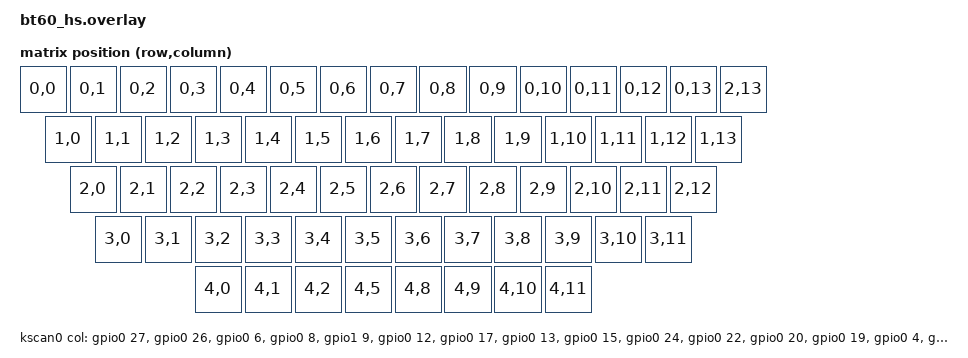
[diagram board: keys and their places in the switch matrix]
/* 1. ИЗБИРАМЕ ОФИЦИАЛНИЯ ЛАЙАУТ ЗА ZMK STUDIO */
/ {
    chosen {
        zmk,physical-layout = &layout_60_ansi;
    };
};

/* 2. ОБВЪРЗВАМЕ ГО С ВАШАТА V1 МАТРИЦА */
&layout_60_ansi {
    transform = <&v1_transform>;
};

/* 3. ДОБАВЯМЕ ЛИПСВАЩИЯ ПИН В МАСИВА НА ДРАЙВЕРА (Премахва Skew-а и пуска стрелката) */
&kscan0 {
    col-gpios
        = <&gpio0 27 GPIO_ACTIVE_HIGH>
        , <&gpio0 26 GPIO_ACTIVE_HIGH>
        , <&gpio0 6  GPIO_ACTIVE_HIGH>
        , <&gpio0 8  GPIO_ACTIVE_HIGH>
        , <&gpio1 9  GPIO_ACTIVE_HIGH>
        , <&gpio0 12 GPIO_ACTIVE_HIGH>
        , <&gpio0 17 GPIO_ACTIVE_HIGH>
        , <&gpio0 13 GPIO_ACTIVE_HIGH>
        , <&gpio0 15 GPIO_ACTIVE_HIGH>
        , <&gpio0 24 GPIO_ACTIVE_HIGH>
        , <&gpio0 22 GPIO_ACTIVE_HIGH>
        , <&gpio0 20 GPIO_ACTIVE_HIGH>
        , <&gpio0 19 GPIO_ACTIVE_HIGH>
        , <&gpio0 4  GPIO_ACTIVE_HIGH>
        , <&gpio0 2  GPIO_ACTIVE_HIGH> // Инжектираме 15-тия пин за дясната стрелка
        ;
};

/* 4. НАЛАГАМЕ ВАШАТА ТОЧНА ОРИГИНАЛНА МАТРИЦА */
/ {
    v1_transform: v1_transform {
        compatible = "zmk,matrix-transform";
        columns = <15>; 
        rows = <5>;    
        map = <
            RC(0,0) RC(0,1) RC(0,2) RC(0,3) RC(0,4) RC(0,5) RC(0,6) RC(0,7) RC(0,8) RC(0,9) RC(0,10) RC(0,11) RC(0,12)     RC(0,13) RC(2,13)
            RC(1,0)   RC(1,1) RC(1,2) RC(1,3) RC(1,4) RC(1,5) RC(1,6) RC(1,7) RC(1,8) RC(1,9) RC(1,10) RC(1,11) RC(1,12)   RC(1,13)
            RC(2,0)     RC(2,1) RC(2,2) RC(2,3) RC(2,4) RC(2,5) RC(2,6) RC(2,7) RC(2,8) RC(2,9) RC(2,10) RC(2,11)          RC(2,12)
            RC(3,0)       RC(3,1) RC(3,2) RC(3,3) RC(3,4) RC(3,5) RC(3,6) RC(3,7) RC(3,8) RC(3,9)  RC(3,10)               RC(3,11)
            RC(4,0)   RC(4,1)   RC(4,2)                      RC(4,5)                     RC(4,8)   RC(4,9)    RC(4,10)     RC(4,11)
        >;
    };
};
